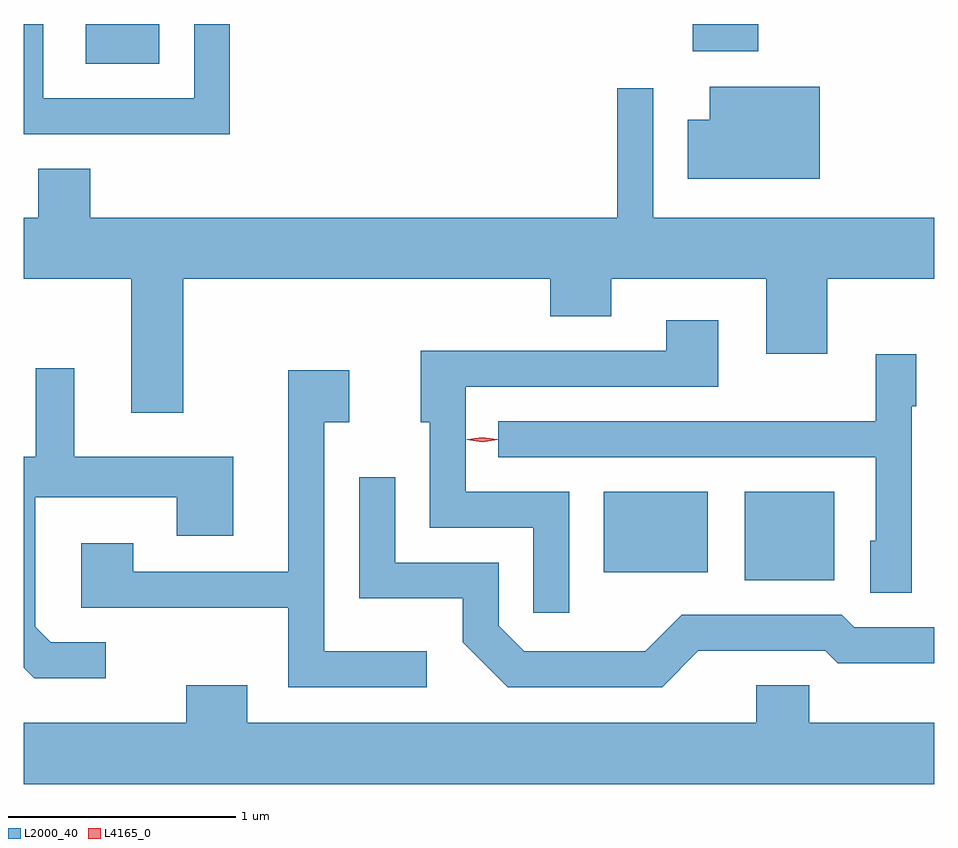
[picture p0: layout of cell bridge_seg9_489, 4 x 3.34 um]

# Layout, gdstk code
import gdstk
lib = gdstk.Library(unit=1e-6, precision=1e-09)
def R(c, l, rs):  # rectangles x0, y0, x1, y1
    for r in rs: c.add(gdstk.rectangle(r[:2], r[2:], *l))
def P(c, l, *ps):  # polygons
    for p in ps: c.add(gdstk.Polygon(p, *l))
L2000_40 = (2000, 40)
L4165_0 = (4165, 0)

bridge_seg9_489 = lib.new_cell('bridge_seg9_489')
R(bridge_seg9_489, L2000_40, [(591.836,1946.091,592.229,1946.479), (591.216,1946.126,591.674,1946.479), (588.941,1948.361,589.264,1948.535), (591.606,1948.416,591.894,1948.535)])
P(bridge_seg9_489, L2000_40, [(589.574,1948.535),(589.416,1948.535),(589.416,1948.209),(588.754,1948.209),(588.754,1948.535),(588.668,1948.535),(588.668,1948.051),(589.574,1948.051)],
  [(592.164,1948.259),(591.681,1948.259),(591.681,1948.114),(591.586,1948.114),(591.586,1947.856),(592.164,1947.856)],
  [(591.434,1948.253),(591.276,1948.253),(591.276,1947.684),(588.959,1947.684),(588.959,1947.899),(588.731,1947.899),(588.731,1947.684),(588.668,1947.684),(588.668,1947.416),(589.141,1947.416),(589.141,1946.826),(589.369,1946.826),(589.369,1947.416),(590.981,1947.416),(590.981,1947.251),(591.249,1947.251),(591.249,1947.416),(591.931,1947.416),(591.931,1947.086),(592.199,1947.086),(592.199,1947.416),(592.668,1947.416),(592.668,1947.684),(591.434,1947.684)],
  [(591.064,1946.479),(590.609,1946.479),(590.609,1946.941),(591.719,1946.941),(591.719,1947.234),(591.491,1947.234),(591.491,1947.099),(590.411,1947.099),(590.411,1946.786),(590.451,1946.786),(590.451,1946.321),(590.906,1946.321),(590.906,1945.948),(591.064,1945.948)],
  [(592.569,1946.856),(592.589,1946.856),(592.589,1947.084),(592.411,1947.084),(592.411,1946.789),(590.753,1946.789),(590.753,1946.631),(592.411,1946.631),(592.411,1946.264),(592.386,1946.264),(592.386,1946.036),(592.569,1946.036)],
  [(589.028,1945.819),(588.787,1945.819),(588.719,1945.887),(588.719,1946.456),(589.341,1946.456),(589.341,1946.286),(589.589,1946.286),(589.589,1946.634),(588.889,1946.634),(588.889,1947.023),(588.721,1947.023),(588.721,1946.634),(588.668,1946.634),(588.668,1945.707),(588.714,1945.661),(589.028,1945.661)],
  [(590.438,1945.779),(589.989,1945.779),(589.989,1946.786),(590.099,1946.786),(590.099,1947.014),(589.831,1947.014),(589.831,1946.129),(589.149,1946.129),(589.149,1946.254),(588.921,1946.254),(588.921,1945.971),(589.831,1945.971),(589.831,1945.621),(590.438,1945.621)],
  [(591.632,1945.781),(592.189,1945.781),(592.244,1945.726),(592.668,1945.726),(592.668,1945.884),(592.317,1945.884),(592.262,1945.939),(591.559,1945.939),(591.399,1945.779),(590.867,1945.779),(590.754,1945.892),(590.754,1946.169),(590.299,1946.169),(590.299,1946.543),(590.141,1946.543),(590.141,1946.011),(590.596,1946.011),(590.596,1945.819),(590.794,1945.621),(591.472,1945.621)],
  [(592.668,1945.464),(592.119,1945.464),(592.119,1945.629),(591.886,1945.629),(591.886,1945.464),(589.649,1945.464),(589.649,1945.629),(589.381,1945.629),(589.381,1945.464),(588.668,1945.464),(588.668,1945.196),(592.668,1945.196)])
P(bridge_seg9_489, L4165_0, [(590.682,1946.698),(590.614,1946.708),(590.613,1946.708),(590.614,1946.709),(590.682,1946.718),(590.751,1946.709),(590.752,1946.708),(590.751,1946.708)],
  [(590.682,1946.699),(590.616,1946.709),(590.615,1946.709),(590.616,1946.71),(590.682,1946.72),(590.748,1946.71),(590.748,1946.709),(590.748,1946.709)])

lib.write_gds('bridge_seg9_489.gds')
